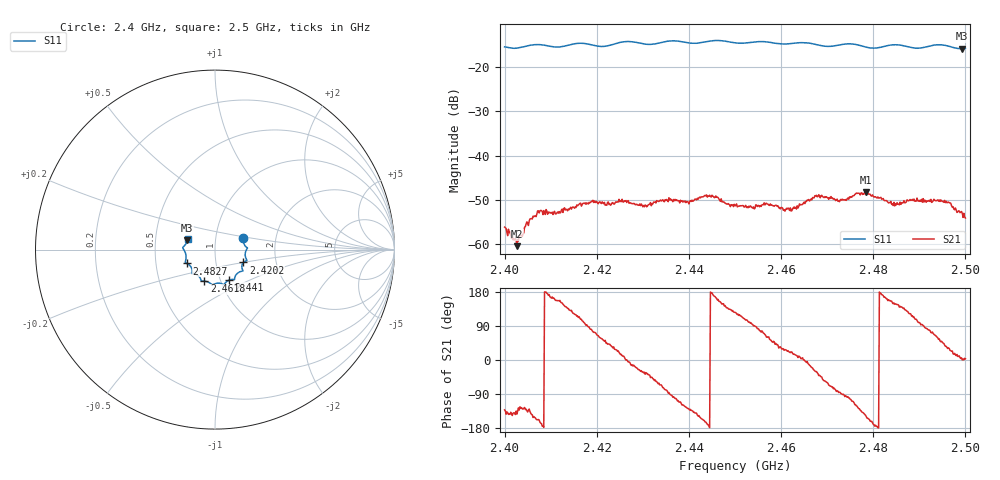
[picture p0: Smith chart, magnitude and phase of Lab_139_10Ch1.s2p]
# Hz S RI R 50
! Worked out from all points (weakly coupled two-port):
!   601 points, 2.4 GHz to 2.5 GHz, reference 50 ohm
!   highest |S21| = -48.33 dB at 2.4783 GHz (marker M1); lowest = -60.6 dB at 2.4027 GHz (marker M2)
!   lowest |S11| = -15.8 dB at 2.4993 GHz (marker M3), VSWR 1.39, Z = 36.5 + j3.83 ohm
!   |S11| at or under -10 dB: start of sweep to end of sweep
!   S12 and S22 are empty: the file has one direction only
!   S11 on the Smith chart (normalised r, x): 2.4 GHz: 1.36, +0.18; 2.4202 GHz: 1.36, -0.20; 2.441 GHz: 1.10, -0.39; 2.4618 GHz: 0.84, -0.30; 2.4827 GHz: 0.72, -0.12; 2.5 GHz: 0.73, +0.09
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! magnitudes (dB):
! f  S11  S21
! 2.4 GHz  -15.4  -56.2
! 2.4027 GHz  -15.6  -60.6
! 2.4052 GHz  -15.1  -55.9
! 2.4075 GHz  -14.9  -53.0
! 2.4115 GHz  -15.4  -52.8
! 2.4167 GHz  -14.5  -51.5
! 2.4202 GHz  -15.2  -50.8
! 2.4305 GHz  -14.8  -51.2
! 2.4333 GHz  -14.5  -50.4
! 2.441 GHz  -14.6  -50.3
! 2.4448 GHz  -14.0  -49.4
! 2.45 GHz  -14.4  -51.4
! 2.4568 GHz  -14.2  -50.8
! 2.4618 GHz  -14.6  -52.4
! 2.4667 GHz  -14.6  -50.1
! 2.4728 GHz  -14.9  -50.1
! 2.4783 GHz  -15.4  -48.3
! 2.4827 GHz  -15.2  -50.2
! 2.4833 GHz  -15.0  -50.7
! 2.4943 GHz  -14.9  -50.1
! 2.4993 GHz  -15.8  -53.1
! 2.5 GHz  -15.7  -54.2
